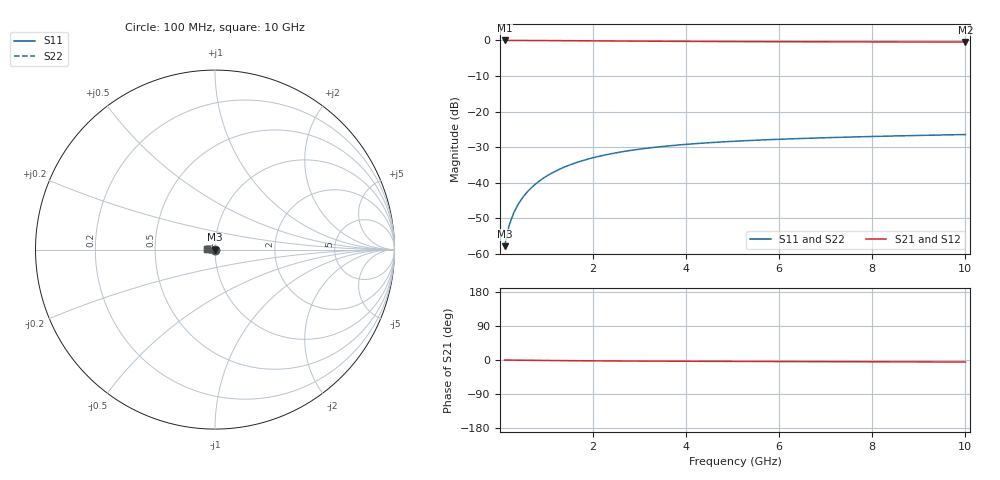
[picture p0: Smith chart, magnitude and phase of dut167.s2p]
! Touchstone file exported from HFSS 2024.1.0
!  File:  C:/UserFiles/LocalFiles/RDL_TSV_Batchsim/temp_TSV1_167_1778755772.aedt
!  Generated:  06:54:11 PM May 14, 2026
!  Design:  TSV1
!  Project:  temp_TSV1_167_1778755772
!  Setup:  Setup1
!  Solution:  Sweep
! Variables:
!  dtsv = 10.25um
!  hbump = 3um
!  htsv = 83.2um
!  lrdl = 252.1521522um
!  p = 40
!  p1 = 52.1um
!  t = 500um
!  trdl = 3um
!  wrdl = 24.89489489um
# GHz S MA R 50.000000
! Terminal data exported
! Port[1] = TSV22_T1
! Port[2] = TSV22_T2
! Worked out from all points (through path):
!   100 points, 100 MHz to 10 GHz, reference 50 ohm
!   highest |S21| = 0.00 dB at 100 MHz (marker M1); lowest = -0.4 dB at 10 GHz (marker M2)
!   lowest |S11| = -57.9 dB at 100 MHz (marker M3), VSWR 1.00, Z = 50 - j0.127 ohm
!   |S11| at or under -10 dB: start of sweep to end of sweep
!   |S22| runs from -57.9 to -26.5 dB; largest |S21 - S12| = 1.2e-14
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0.1  0.001277 -85.5  0.9998 -0.1  0.9998 -0.1  0.001277 -85.5
! Gamma 0 0 0 0
! Port Impedance 50 0 50 0
0.2  0.002542 -90.4  0.9997 -0.3  0.9997 -0.3  0.002542 -90.4
0.3  0.003808 -93.2  0.9995 -0.4  0.9995 -0.4  0.003808 -93.2
0.4  0.00507 -95.6  0.9991 -0.5  0.9991 -0.5  0.00507 -95.6
0.5  0.006323 -97.7  0.9988 -0.6  0.9988 -0.6  0.006323 -97.7
0.6  0.007562 -99.8  0.9983 -0.8  0.9983 -0.8  0.007562 -99.8
0.7  0.008785 -101.8  0.9978 -0.9  0.9978 -0.9  0.008785 -101.8
0.8  0.009988 -103.7  0.9972 -1.0  0.9972 -1.0  0.009988 -103.7
0.9  0.01117 -105.6  0.9966 -1.1  0.9966 -1.1  0.01117 -105.6
1.1  0.01346 -109.2  0.9952 -1.3  0.9952 -1.3  0.01346 -109.2
1.4  0.0167 -114.4  0.9927 -1.7  0.9927 -1.7  0.0167 -114.4
1.6  0.01871 -117.7  0.9909 -1.8  0.9909 -1.8  0.01871 -117.7
1.8  0.0206 -120.9  0.9891 -2.0  0.9891 -2.0  0.0206 -120.9
2.1  0.02321 -125.4  0.9862 -2.3  0.9862 -2.3  0.02321 -125.4
2.5  0.02629 -130.9  0.9825 -2.5  0.9825 -2.5  0.02629 -130.9
2.9  0.02895 -136.0  0.9789 -2.8  0.9789 -2.8  0.02895 -136.0
3.4  0.03177 -141.7  0.9748 -3.0  0.9748 -3.0  0.03177 -141.7
4.2  0.03534 -149.7  0.9691 -3.4  0.9691 -3.4  0.03534 -149.7
5.1  0.03837 -157.2  0.9641 -3.7  0.9641 -3.7  0.03837 -157.2
6.7  0.04223 -168.1  0.9577 -4.3  0.9577 -4.3  0.04223 -168.1
8.4  0.04519 -177.3  0.9533 -4.8  0.9533 -4.8  0.0452 -177.3
10  0.04748 175.4  0.9505 -5.4  0.9505 -5.4  0.04748 175.4
